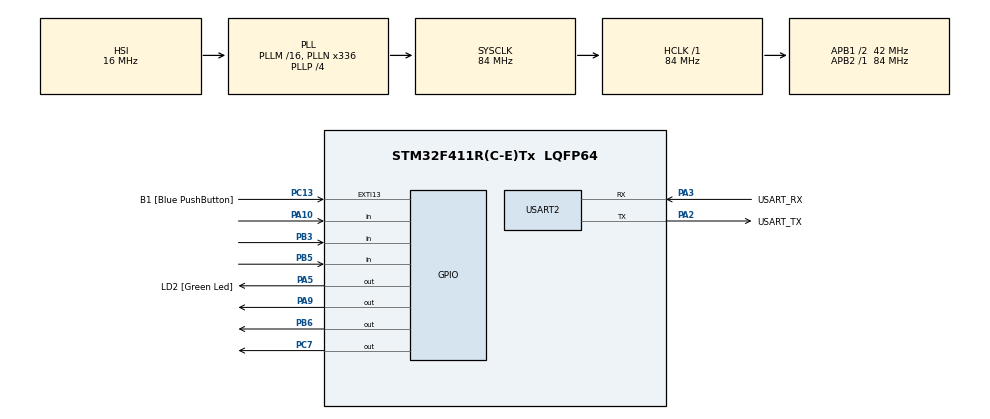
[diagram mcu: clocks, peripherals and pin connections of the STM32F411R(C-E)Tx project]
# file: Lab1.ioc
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Mcu.Family=STM32F4
Mcu.Name=STM32F411R(C-E)Tx
Mcu.Package=LQFP64
NVIC.PriorityGroup=NVIC_PRIORITYGROUP_0
PA10.Signal=GPIO_Input
PA13.GPIO_Label=TMS
PA13.Mode=Serial_Wire
PA13.Signal=SYS_JTMS-SWDIO
PA14.GPIO_Label=TCK
PA14.Mode=Serial_Wire
PA14.Signal=SYS_JTCK-SWCLK
PA2.GPIO_Label=USART_TX
PA2.Mode=Asynchronous
PA2.Signal=USART2_TX
PA3.GPIO_Label=USART_RX
PA3.Mode=Asynchronous
PA3.Signal=USART2_RX
PA5.GPIO_Label=LD2 [Green Led]
PA5.Signal=GPIO_Output
PA9.Signal=GPIO_Output
PB3.Signal=GPIO_Input
PB5.Signal=GPIO_Input
PB6.Signal=GPIO_Output
PC13-ANTI_TAMP.GPIO_Label=B1 [Blue PushButton]
PC13-ANTI_TAMP.GPIO_ModeDefaultEXTI=GPIO_MODE_IT_FALLING
PC13-ANTI_TAMP.Signal=GPXTI13
PC14-OSC32_IN.Mode=LSE-External-Oscillator
PC14-OSC32_IN.Signal=RCC_OSC32_IN
PC15-OSC32_OUT.Mode=LSE-External-Oscillator
PC15-OSC32_OUT.Signal=RCC_OSC32_OUT
PC7.Signal=GPIO_Output
PH0\ -\ OSC_IN.Mode=HSE-External-Clock-Source
PH0\ -\ OSC_IN.Signal=RCC_OSC_IN
PH1\ -\ OSC_OUT.Mode=HSE-External-Clock-Source
PH1\ -\ OSC_OUT.Signal=RCC_OSC_OUT
ProjectManager.HeapSize=0x200
ProjectManager.StackSize=0x400
ProjectManager.TargetToolchain=STM32CubeIDE
RCC.48MHZClocksFreq_Value=84000000
RCC.AHBFreq_Value=84000000
RCC.APB1CLKDivider=RCC_HCLK_DIV2
RCC.APB1Freq_Value=42000000
RCC.APB1TimFreq_Value=84000000
RCC.APB2Freq_Value=84000000
RCC.APB2TimFreq_Value=84000000
RCC.CortexFreq_Value=84000000
RCC.FLatency-AdvancedSettings=FLASH_LATENCY_2
RCC.HCLKFreq_Value=84000000
RCC.HSE_VALUE=8000000
RCC.HSI_VALUE=16000000
RCC.PLLN=336
RCC.PLLP=RCC_PLLP_DIV4
RCC.SYSCLKFreq_VALUE=84000000
RCC.SYSCLKSource=RCC_SYSCLKSOURCE_PLLCLK
RCC.VCOOutputFreq_Value=336000000
USART2.VirtualMode=VM_ASYNC
board=NUCLEO-F411RE

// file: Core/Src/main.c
/* USER CODE BEGIN Header */
/**
  ******************************************************************************
  * @file           : main.c
  * @brief          : Main program body
  ******************************************************************************
  * @attention
  *
  * <h2><center>&copy; Copyright (c) 2021 STMicroelectronics.
  * All rights reserved.</center></h2>
  *
  * This software component is licensed by ST under BSD 3-Clause license,
  * the "License"; You may not use this file except in compliance with the
  * License. You may obtain a copy of the License at:
  *                        opensource.org/licenses/BSD-3-Clause
  *
  ******************************************************************************
  */
/* USER CODE END Header */
#include "main.h"

UART_HandleTypeDef huart2;

void SystemClock_Config(void);
static void MX_GPIO_Init(void);
static void MX_USART2_UART_Init(void);

int main(void)
{

  /* MCU Configuration--------------------------------------------------------*/

  /* Reset of all peripherals, Initializes the Flash interface and the Systick. */
  HAL_Init();

  /* Configure the system clock */
  SystemClock_Config();

  /* Initialize all configured peripherals */
  MX_GPIO_Init();
  MX_USART2_UART_Init();
  /* USER CODE BEGIN 2 */
  uint32_t ButtonTimeStamp = 0;
  // Task 1
   GPIO_PinState SwitchStateS1[2];  //Now, Previous
   uint16_t LED1_Half_Period = 1000;  //Half of 0.5 Hz
   uint32_t TimeStamp_LED1 = 0;

  // Task 2
   GPIO_PinState SwitchStateS2[2];  //Now, Previous
   uint8_t LED3_On = 0;	//LED3 is on ; The default is false.

  // Task 3
   GPIO_PinState SwitchStateS3[2];  //Now, Previous
   uint8_t LED5_Mode = 0;	//Mode 0 and Mode 1 ; The default is 0.
   uint8_t LED5_On = 0; //LED5 is on ; The default is false.
   uint16_t LED5_Time_On = 500; // 0.5s
   uint16_t LED5_Time_Off = 1500; // 1.5s
   uint32_t TimeStamp_LED5 = 0;

  /* USER CODE END 2 */

  /* Infinite loop */
  /* USER CODE BEGIN WHILE */
  while (1)
  {
   if(HAL_GetTick() - ButtonTimeStamp >= 100)
   {
		ButtonTimeStamp = HAL_GetTick();

		//	Task 1
		SwitchStateS1[0] = HAL_GPIO_ReadPin(GPIOA, GPIO_PIN_10);
		   //Press = Low , No = High
		   if(SwitchStateS1[0] == GPIO_PIN_SET && SwitchStateS1[1] == GPIO_PIN_RESET)
		   // set = high , reset = low
		   {
				//Change Half Period of LED 1
				if(LED1_Half_Period == 1000)
				{
					LED1_Half_Period = 500;	// 1 HZ
				}
				else if (LED1_Half_Period == 500)
				{
					LED1_Half_Period = 250;	// 2 HZ
				}
				else if (LED1_Half_Period == 250)
				{
					LED1_Half_Period = (1000/6);	// 3 HZ
				}
				else
				{
					LED1_Half_Period = 1000;	// 0.5 HZ
				}
		   }
		   SwitchStateS1[1] = SwitchStateS1[0];

		//	Task 2
		SwitchStateS2[0] = HAL_GPIO_ReadPin(GPIOB, GPIO_PIN_3);
		   //Press = Low , No = High
		   if(SwitchStateS2[0] == GPIO_PIN_SET && SwitchStateS2[1] == GPIO_PIN_RESET)
		   // set = high , reset = low
		   {
			   //if (LED3_On == 0)
			   if (LED3_On == 0)
			   {
				   LED3_On = 1;	// On
			   }
			   else
			   {
				   LED3_On = 0;	// Off
			   }
		   }
		   SwitchStateS2[1] = SwitchStateS2[0];

		//	Task 3
		SwitchStateS3[0] = HAL_GPIO_ReadPin(GPIOB, GPIO_PIN_5);
		   //Press = Low , No = High
			if(SwitchStateS3[0] == GPIO_PIN_SET && SwitchStateS3[1] == GPIO_PIN_RESET)
			// set = high , reset = low
			{
				   if (LED5_Mode == 0)
				   {
					   LED5_Mode = 1;	// mode 1
				   }
				   else
				   {
					   LED5_Mode = 0;	// mode 0
				   }
			}
		   SwitchStateS3[1] = SwitchStateS3[0];
   }

   //Run LED for Task 1
   if(HAL_GetTick() - TimeStamp_LED1 >= LED1_Half_Period) //millisecond now time
   {
		TimeStamp_LED1 = HAL_GetTick();
		if(HAL_GPIO_ReadPin(GPIOA, GPIO_PIN_9) == GPIO_PIN_SET)
		{
			HAL_GPIO_WritePin(GPIOA, GPIO_PIN_9, GPIO_PIN_RESET);
		}
		else
		{
			HAL_GPIO_WritePin(GPIOA, GPIO_PIN_9, GPIO_PIN_SET);
		}
   }

   //Run LED for Task 2
   if(LED3_On == 0)
   {
	   HAL_GPIO_WritePin(GPIOC, GPIO_PIN_7, GPIO_PIN_RESET);
   }
   else
   {
	   HAL_GPIO_WritePin(GPIOC, GPIO_PIN_7, GPIO_PIN_SET);
   }

   //Run LED for Task 3
   if(LED5_Mode == 1)
   {
	   LED5_Time_On = 500; // 0.5s
	   LED5_Time_Off = 1500; // 1.5s
   }
   else
   {
	   LED5_Time_On = 1500; // 1.5s
	   LED5_Time_Off = 500; // 0.5s
   }

   if((HAL_GetTick() - TimeStamp_LED5 <= LED5_Time_Off) && (LED5_On == 0)) //millisecond now time
   {
	   HAL_GPIO_WritePin(GPIOB, GPIO_PIN_6, GPIO_PIN_SET);
   }
   else if ((HAL_GetTick() - TimeStamp_LED5 <= LED5_Time_On) && (LED5_On == 1))
   {
	   HAL_GPIO_WritePin(GPIOB, GPIO_PIN_6, GPIO_PIN_RESET);
   }
   else
   {
	   TimeStamp_LED5 = HAL_GetTick();

	   if(LED5_On == 1)
	   {
		   LED5_On = 0;
	   }
	   else
	   {
		   LED5_On = 1;
	   }
   }

    /* USER CODE END WHILE */

  }
}

void SystemClock_Config(void)
{
  RCC_OscInitTypeDef RCC_OscInitStruct = {0};
  RCC_ClkInitTypeDef RCC_ClkInitStruct = {0};

  /** Configure the main internal regulator output voltage
  */
  __HAL_RCC_PWR_CLK_ENABLE();
  __HAL_PWR_VOLTAGESCALING_CONFIG(PWR_REGULATOR_VOLTAGE_SCALE1);
  /** Initializes the RCC Oscillators according to the specified parameters
  * in the RCC_OscInitTypeDef structure.
  */
  RCC_OscInitStruct.OscillatorType = RCC_OSCILLATORTYPE_HSI;
  RCC_OscInitStruct.HSIState = RCC_HSI_ON;
  RCC_OscInitStruct.HSICalibrationValue = RCC_HSICALIBRATION_DEFAULT;
  RCC_OscInitStruct.PLL.PLLState = RCC_PLL_ON;
  RCC_OscInitStruct.PLL.PLLSource = RCC_PLLSOURCE_HSI;
  RCC_OscInitStruct.PLL.PLLM = 16;
  RCC_OscInitStruct.PLL.PLLN = 336;
  RCC_OscInitStruct.PLL.PLLP = RCC_PLLP_DIV4;
  RCC_OscInitStruct.PLL.PLLQ = 4;
  if (HAL_RCC_OscConfig(&RCC_OscInitStruct) != HAL_OK)
  {
    Error_Handler();
  }
  /** Initializes the CPU, AHB and APB buses clocks
  */
  RCC_ClkInitStruct.ClockType = RCC_CLOCKTYPE_HCLK|RCC_CLOCKTYPE_SYSCLK
                              |RCC_CLOCKTYPE_PCLK1|RCC_CLOCKTYPE_PCLK2;
  RCC_ClkInitStruct.SYSCLKSource = RCC_SYSCLKSOURCE_PLLCLK;
  RCC_ClkInitStruct.AHBCLKDivider = RCC_SYSCLK_DIV1;
  RCC_ClkInitStruct.APB1CLKDivider = RCC_HCLK_DIV2;
  RCC_ClkInitStruct.APB2CLKDivider = RCC_HCLK_DIV1;

  if (HAL_RCC_ClockConfig(&RCC_ClkInitStruct, FLASH_LATENCY_2) != HAL_OK)
  {
    Error_Handler();
  }
}

static void MX_USART2_UART_Init(void)
{

  huart2.Instance = USART2;
  huart2.Init.BaudRate = 115200;
  huart2.Init.WordLength = UART_WORDLENGTH_8B;
  huart2.Init.StopBits = UART_STOPBITS_1;
  huart2.Init.Parity = UART_PARITY_NONE;
  huart2.Init.Mode = UART_MODE_TX_RX;
  huart2.Init.HwFlowCtl = UART_HWCONTROL_NONE;
  huart2.Init.OverSampling = UART_OVERSAMPLING_16;
  if (HAL_UART_Init(&huart2) != HAL_OK)
  {
    Error_Handler();
  }

}

static void MX_GPIO_Init(void)
{
  GPIO_InitTypeDef GPIO_InitStruct = {0};

  /* GPIO Ports Clock Enable */
  __HAL_RCC_GPIOC_CLK_ENABLE();
  __HAL_RCC_GPIOH_CLK_ENABLE();
  __HAL_RCC_GPIOA_CLK_ENABLE();
  __HAL_RCC_GPIOB_CLK_ENABLE();

  /*Configure GPIO pin Output Level */
  HAL_GPIO_WritePin(GPIOA, LD2_Pin|GPIO_PIN_9, GPIO_PIN_RESET);

  /*Configure GPIO pin Output Level */
  HAL_GPIO_WritePin(GPIOC, GPIO_PIN_7, GPIO_PIN_RESET);

  /*Configure GPIO pin Output Level */
  HAL_GPIO_WritePin(GPIOB, GPIO_PIN_6, GPIO_PIN_RESET);

  /*Configure GPIO pin : B1_Pin */
  GPIO_InitStruct.Pin = B1_Pin;
  GPIO_InitStruct.Mode = GPIO_MODE_IT_FALLING;
  GPIO_InitStruct.Pull = GPIO_NOPULL;
  HAL_GPIO_Init(B1_GPIO_Port, &GPIO_InitStruct);

  /*Configure GPIO pins : LD2_Pin PA9 */
  GPIO_InitStruct.Pin = LD2_Pin|GPIO_PIN_9;
  GPIO_InitStruct.Mode = GPIO_MODE_OUTPUT_PP;
  GPIO_InitStruct.Pull = GPIO_NOPULL;
  GPIO_InitStruct.Speed = GPIO_SPEED_FREQ_LOW;
  HAL_GPIO_Init(GPIOA, &GPIO_InitStruct);

  /*Configure GPIO pin : PC7 */
  GPIO_InitStruct.Pin = GPIO_PIN_7;
  GPIO_InitStruct.Mode = GPIO_MODE_OUTPUT_PP;
  GPIO_InitStruct.Pull = GPIO_NOPULL;
  GPIO_InitStruct.Speed = GPIO_SPEED_FREQ_LOW;
  HAL_GPIO_Init(GPIOC, &GPIO_InitStruct);

  /*Configure GPIO pin : PA10 */
  GPIO_InitStruct.Pin = GPIO_PIN_10;
  GPIO_InitStruct.Mode = GPIO_MODE_INPUT;
  GPIO_InitStruct.Pull = GPIO_NOPULL;
  HAL_GPIO_Init(GPIOA, &GPIO_InitStruct);

  /*Configure GPIO pins : PB3 PB5 */
  GPIO_InitStruct.Pin = GPIO_PIN_3|GPIO_PIN_5;
  GPIO_InitStruct.Mode = GPIO_MODE_INPUT;
  GPIO_InitStruct.Pull = GPIO_NOPULL;
  HAL_GPIO_Init(GPIOB, &GPIO_InitStruct);

  /*Configure GPIO pin : PB6 */
  GPIO_InitStruct.Pin = GPIO_PIN_6;
  GPIO_InitStruct.Mode = GPIO_MODE_OUTPUT_PP;
  GPIO_InitStruct.Pull = GPIO_NOPULL;
  GPIO_InitStruct.Speed = GPIO_SPEED_FREQ_LOW;
  HAL_GPIO_Init(GPIOB, &GPIO_InitStruct);

}

void Error_Handler(void)
{
  __disable_irq();
  while (1)
  {
  }
}

/************************ (C) COPYRIGHT STMicroelectronics *****END OF FILE****/
